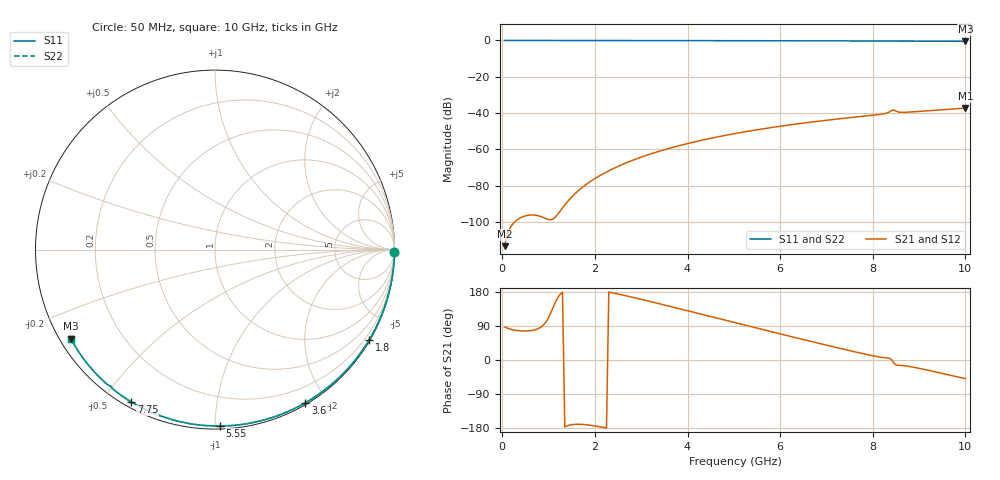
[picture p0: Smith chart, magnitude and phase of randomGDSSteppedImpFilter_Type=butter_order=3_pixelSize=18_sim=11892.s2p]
! freq	dB(S11)	phase(S11)	dB(S12)	phase(S12)
!  dB(S21)	phase(S21)	dB(S22)	phase(S22)
!S-par simulation data
#  GHz  S  DB  R 50
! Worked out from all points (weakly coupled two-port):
!   200 points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, 50 MHz to 10 GHz, reference 50 ohm
!   highest |S21| = -37.25 dB at 10 GHz (marker M1); lowest = -113.2 dB at 50 MHz (marker M2)
!   lowest |S11| = -0.5 dB at 10 GHz (marker M3), VSWR 34.79, Z = 1.55 - j14.2 ohm
!   |S11| at or under -10 dB: nowhere
!   |S22| runs from -0.5 to 0.0 dB; largest |S21 - S12| = 0
!   S11 on the Smith chart (normalised r, x): 50 MHz: open; 1.8 GHz: 0.03, -3.67; 3.6 GHz: 0.02, -1.75; 5.55 GHz: 0.02, -1.03; 7.75 GHz: 0.02, -0.59; 10 GHz: 0.03, -0.28
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0.05  -0.00 -0.9  -113.25 87.2  -113.25 87.2  -0.00 -0.9
0.9  -0.02 -15.4  -97.63 93.9  -97.63 93.9  -0.02 -15.4
1.75  -0.04 -29.7  -80.43 -170.2  -80.43 -170.2  -0.04 -29.7
1.8  -0.04 -30.5  -79.46 -170.8  -79.46 -170.8  -0.04 -30.5
2.1  -0.05 -35.4  -74.50 -176.0  -74.50 -176.0  -0.05 -35.4
2.5  -0.05 -42.0  -69.31 174.1  -69.31 174.1  -0.05 -42.0
2.9  -0.06 -48.4  -65.15 163.0  -65.15 163.0  -0.06 -48.4
3.4  -0.08 -56.3  -60.90 148.2  -60.90 148.2  -0.08 -56.3
3.6  -0.08 -59.4  -59.42 142.2  -59.42 142.2  -0.08 -59.4
4.3  -0.10 -70.1  -54.97 120.8  -54.97 120.8  -0.10 -70.1
5.05  -0.13 -81.3  -51.14 97.8  -51.14 97.8  -0.13 -81.3
5.55  -0.15 -88.5  -48.97 82.6  -48.97 82.6  -0.15 -88.5
6.7  -0.20 -104.6  -44.85 48.0  -44.85 48.0  -0.20 -104.6
7.75  -0.28 -118.7  -41.84 17.8  -41.84 17.8  -0.28 -118.7
8.2  -0.32 -124.7  -40.52 6.9  -40.52 6.9  -0.32 -124.7
8.35  -0.35 -126.7  -39.46 4.8  -39.46 4.8  -0.35 -126.7
8.4  -0.37 -127.3  -38.62 1.8  -38.62 1.8  -0.37 -127.2
8.45  -0.36 -127.7  -38.17 -7.2  -38.17 -7.2  -0.35 -127.7
8.55  -0.34 -129.1  -39.40 -14.1  -39.40 -14.1  -0.34 -129.2
8.65  -0.35 -130.5  -39.60 -14.7  -39.60 -14.7  -0.35 -130.5
9.35  -0.42 -139.7  -38.38 -31.3  -38.38 -31.3  -0.42 -139.7
10  -0.50 -148.3  -37.25 -49.3  -37.25 -49.3  -0.50 -148.3
